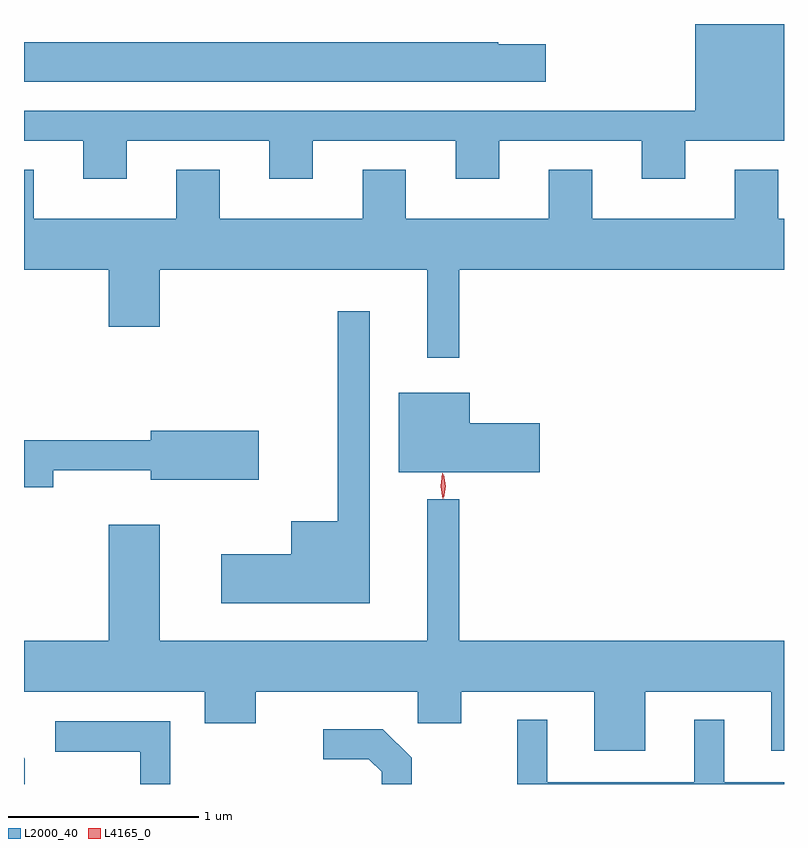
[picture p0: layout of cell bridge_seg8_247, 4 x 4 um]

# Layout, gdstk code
import gdstk
lib = gdstk.Library(unit=1e-6, precision=1e-09)
def P(c, l, *ps):  # polygons
    for p in ps: c.add(gdstk.Polygon(p, *l))
L2000_40 = (2000, 40)
L4165_0 = (4165, 0)

bridge_seg8_247 = lib.new_cell('bridge_seg8_247')
P(bridge_seg8_247, L2000_40, [(1114.269,1845.976),(1115.021,1845.976),(1115.021,1845.776),(1115.249,1845.776),(1115.249,1845.976),(1116.001,1845.976),(1116.001,1845.776),(1116.229,1845.776),(1116.229,1845.976),(1116.981,1845.976),(1116.981,1845.776),(1117.209,1845.776),(1117.209,1845.976),(1117.729,1845.976),(1117.729,1846.59),(1117.261,1846.59),(1117.261,1846.134),(1113.729,1846.134),(1113.729,1845.976),(1114.041,1845.976),(1114.041,1845.776),(1114.269,1845.776)],
  [(1116.474,1846.484),(1116.225,1846.484),(1116.225,1846.494),(1113.729,1846.494),(1113.729,1846.286),(1116.474,1846.286)],
  [(1116.019,1845.296),(1117.729,1845.296),(1117.729,1845.564),(1117.699,1845.564),(1117.699,1845.824),(1117.471,1845.824),(1117.471,1845.564),(1116.719,1845.564),(1116.719,1845.824),(1116.491,1845.824),(1116.491,1845.564),(1115.739,1845.564),(1115.739,1845.824),(1115.511,1845.824),(1115.511,1845.564),(1114.759,1845.564),(1114.759,1845.824),(1114.531,1845.824),(1114.531,1845.564),(1113.779,1845.564),(1113.779,1845.824),(1113.729,1845.824),(1113.729,1845.296),(1114.176,1845.296),(1114.176,1844.996),(1114.444,1844.996),(1114.444,1845.296),(1115.851,1845.296),(1115.851,1844.833),(1116.019,1844.833)],
  [(1115.549,1845.078),(1115.381,1845.078),(1115.381,1843.974),(1115.136,1843.974),(1115.136,1843.799),(1114.766,1843.799),(1114.766,1843.541),(1115.549,1843.541)],
  [(1116.444,1844.489),(1116.074,1844.489),(1116.074,1844.649),(1115.701,1844.649),(1115.701,1844.231),(1116.444,1844.231)],
  [(1113.884,1844.241),(1114.396,1844.241),(1114.396,1844.191),(1114.964,1844.191),(1114.964,1844.449),(1114.396,1844.449),(1114.396,1844.399),(1113.729,1844.399),(1113.729,1844.151),(1113.884,1844.151)],
  [(1114.681,1842.911),(1114.949,1842.911),(1114.949,1843.076),(1115.801,1843.076),(1115.801,1842.911),(1116.029,1842.911),(1116.029,1843.076),(1116.731,1843.076),(1116.731,1842.766),(1116.999,1842.766),(1116.999,1843.076),(1117.661,1843.076),(1117.661,1842.766),(1117.729,1842.766),(1117.729,1843.344),(1116.019,1843.344),(1116.019,1844.088),(1115.851,1844.088),(1115.851,1843.344),(1114.444,1843.344),(1114.444,1843.954),(1114.176,1843.954),(1114.176,1843.344),(1113.729,1843.344),(1113.729,1843.076),(1114.681,1843.076)],
  [(1117.729,1842.599),(1117.414,1842.599),(1117.414,1842.928),(1117.256,1842.928),(1117.256,1842.599),(1116.484,1842.599),(1116.484,1842.928),(1116.326,1842.928),(1116.326,1842.59),(1117.729,1842.59)],
  [(1114.499,1842.919),(1113.893,1842.919),(1113.893,1842.761),(1114.341,1842.761),(1114.341,1842.59),(1114.499,1842.59)],
  [(1115.769,1842.727),(1115.617,1842.879),(1115.303,1842.879),(1115.303,1842.721),(1115.544,1842.721),(1115.611,1842.654),(1115.611,1842.59),(1115.769,1842.59)],
  [(1113.734,1842.722),(1113.729,1842.727),(1113.729,1842.59),(1113.734,1842.59)])
P(bridge_seg8_247, L4165_0, [(1115.932,1844.09),(1115.932,1844.09),(1115.922,1844.158),(1115.931,1844.225),(1115.931,1844.226),(1115.932,1844.225),(1115.942,1844.158),(1115.933,1844.09)],
  [(1115.937,1844.093),(1115.928,1844.156),(1115.937,1844.219),(1115.938,1844.22),(1115.938,1844.219),(1115.948,1844.156),(1115.938,1844.093),(1115.938,1844.093)])

lib.write_gds('bridge_seg8_247.gds')
